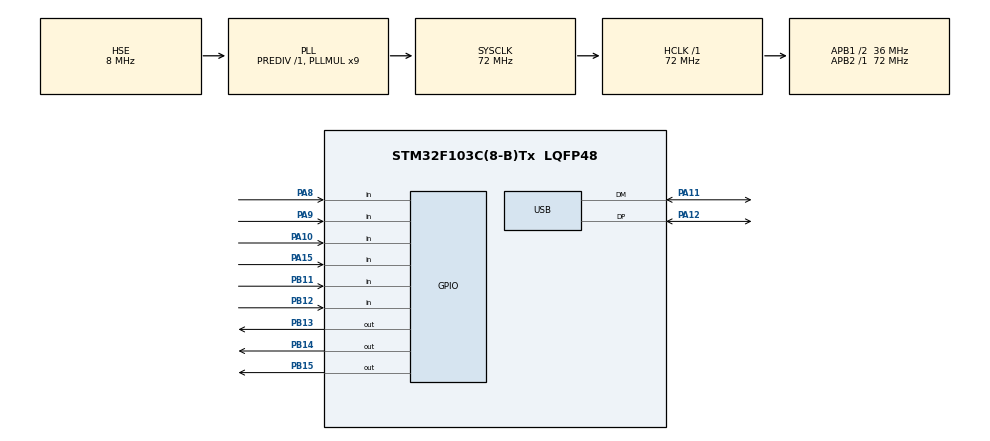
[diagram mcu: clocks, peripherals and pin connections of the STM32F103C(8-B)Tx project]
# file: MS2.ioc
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Mcu.Family=STM32F1
Mcu.Name=STM32F103C(8-B)Tx
Mcu.Package=LQFP48
NVIC.PriorityGroup=NVIC_PRIORITYGROUP_4
NVIC.TIM2_IRQn=true\:0\:0\:false\:false\:true\:true\:true
NVIC.USB_LP_CAN1_RX0_IRQn=true\:0\:0\:false\:false\:true\:false\:true
PA10.Signal=GPIO_Input
PA11.Mode=Device
PA11.Signal=USB_DM
PA12.Mode=Device
PA12.Signal=USB_DP
PA13.Mode=Serial_Wire
PA13.Signal=SYS_JTMS-SWDIO
PA14.Mode=Serial_Wire
PA14.Signal=SYS_JTCK-SWCLK
PA15.Signal=GPIO_Input
PA8.Signal=GPIO_Input
PA9.Signal=GPIO_Input
PB11.Signal=GPIO_Input
PB12.Signal=GPIO_Input
PB13.Signal=GPIO_Output
PB14.Signal=GPIO_Output
PB15.Signal=GPIO_Output
PD0-OSC_IN.Mode=HSE-External-Oscillator
PD0-OSC_IN.Signal=RCC_OSC_IN
PD1-OSC_OUT.Mode=HSE-External-Oscillator
PD1-OSC_OUT.Signal=RCC_OSC_OUT
ProjectManager.HeapSize=0x200
ProjectManager.StackSize=0x400
ProjectManager.TargetToolchain=TrueSTUDIO
RCC.AHBFreq_Value=72000000
RCC.APB1CLKDivider=RCC_HCLK_DIV2
RCC.APB1Freq_Value=36000000
RCC.APB1TimFreq_Value=72000000
RCC.APB2Freq_Value=72000000
RCC.APB2TimFreq_Value=72000000
RCC.HCLKFreq_Value=72000000
RCC.PLLMUL=RCC_PLL_MUL9
RCC.SYSCLKFreq_VALUE=72000000
RCC.SYSCLKSource=RCC_SYSCLKSOURCE_PLLCLK
RCC.USBFreq_Value=48000000
RCC.USBPrescaler=RCC_USBCLKSOURCE_PLL_DIV1_5
TIM2.Period=9
TIM2.Prescaler=71
USB_DEVICE.CLASS_NAME_FS=CDC
USB_DEVICE.VirtualMode=Cdc
USB_DEVICE.VirtualModeFS=Cdc_FS
VP_TIM2_VS_ClockSourceINT.Mode=Internal
VP_USB_DEVICE_VS_USB_DEVICE_CDC_FS.Mode=CDC_FS
board=custom

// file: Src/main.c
/* USER CODE BEGIN Header */
/**
  ******************************************************************************
  * @file           : main.c
  * @brief          : Main program body
  ******************************************************************************
  * This notice applies to any and all portions of this file
  * that are not between comment pairs USER CODE BEGIN and
  * USER CODE END. Other portions of this file, whether
  * inserted by the user or by software development tools
  * are owned by their respective copyright owners.
  *
  * Copyright (c) 2019 STMicroelectronics International N.V.
  * All rights reserved.
  *
  * Redistribution and use in source and binary forms, with or without
  * modification, are permitted, provided that the following conditions are met:
  *
  * 1. Redistribution of source code must retain the above copyright notice,
  *    this list of conditions and the following disclaimer.
  * 2. Redistributions in binary form must reproduce the above copyright notice,
  *    this list of conditions and the following disclaimer in the documentation
  *    and/or other materials provided with the distribution.
  * 3. Neither the name of STMicroelectronics nor the names of other
  *    contributors to this software may be used to endorse or promote products
  *    derived from this software without specific written permission.
  * 4. This software, including modifications and/or derivative works of this
  *    software, must execute solely and exclusively on microcontroller or
  *    microprocessor devices manufactured by or for STMicroelectronics.
  * 5. Redistribution and use of this software other than as permitted under
  *    this license is void and will automatically terminate your rights under
  *    this license.
  *
  * THIS SOFTWARE IS PROVIDED BY STMICROELECTRONICS AND CONTRIBUTORS "AS IS"
  * AND ANY EXPRESS, IMPLIED OR STATUTORY WARRANTIES, INCLUDING, BUT NOT
  * LIMITED TO, THE IMPLIED WARRANTIES OF MERCHANTABILITY, FITNESS FOR A
  * PARTICULAR PURPOSE AND NON-INFRINGEMENT OF THIRD PARTY INTELLECTUAL PROPERTY
  * RIGHTS ARE DISCLAIMED TO THE FULLEST EXTENT PERMITTED BY LAW. IN NO EVENT
  * SHALL STMICROELECTRONICS OR CONTRIBUTORS BE LIABLE FOR ANY DIRECT, INDIRECT,
  * INCIDENTAL, SPECIAL, EXEMPLARY, OR CONSEQUENTIAL DAMAGES (INCLUDING, BUT NOT
  * LIMITED TO, PROCUREMENT OF SUBSTITUTE GOODS OR SERVICES; LOSS OF USE, DATA,
  * OR PROFITS; OR BUSINESS INTERRUPTION) HOWEVER CAUSED AND ON ANY THEORY OF
  * LIABILITY, WHETHER IN CONTRACT, STRICT LIABILITY, OR TORT (INCLUDING
  * NEGLIGENCE OR OTHERWISE) ARISING IN ANY WAY OUT OF THE USE OF THIS SOFTWARE,
  * EVEN IF ADVISED OF THE POSSIBILITY OF SUCH DAMAGE.
  *
  ******************************************************************************
  */
/* USER CODE END Header */

#include "main.h"
#include "usb_device.h"

/* USER CODE BEGIN PTD */
typedef enum{
	DISTANCE_CHECK,
	DISTANCE_STB
}ST_DISTANCE;
typedef enum{
	LED_STB=0,
	LED_CHECK,
	LED_BLINK
}ST_LED;
typedef enum{
	P_PUSH=0,
	P_TIME,
	P_CHECK
}ST_P;
enum{
	Tled1=0,
	Tled2,
	Tled3,
	Tled4,
	TledT1,
	TledT2,
	TledT3,
	TledT4,
	Tp1AR1,
	Tp1AR2,
	Tp1AR3,
	Tp1AR4,
	TLed1_push,
	timers
};

/* USER CODE END PTD */

TIM_HandleTypeDef htim2;

/* USER CODE BEGIN PV */
volatile int TIMERS[timers];
ST_LED led1,led2,led3,led4;
ST_P p1,p2,p3,p4;
ST_DISTANCE s_proximidad;
volatile uint16_t i;
volatile uint8_t estado=0;
char bufer[90];
uint16_t AR=200;
/* USER CODE END PV */

void SystemClock_Config(void);
static void MX_GPIO_Init(void);
static void MX_TIM2_Init(void);
/* USER CODE BEGIN PFP */
void distance_process();
void led1_process();
void p1_process();
void led2_process();
void p2_process();
void led3_process();
void p3_process();
void led4_process();
void p4_process();
/* USER CODE END PFP */

int main(void)
{

  /* MCU Configuration--------------------------------------------------------*/

  /* Reset of all peripherals, Initializes the Flash interface and the Systick. */
  HAL_Init();

  /* Configure the system clock */
  SystemClock_Config();

  /* Initialize all configured peripherals */
  MX_GPIO_Init();
  MX_TIM2_Init();
  MX_USB_DEVICE_Init();
  /* USER CODE BEGIN 2 */
  HAL_TIM_Base_Start_IT(&htim2);
  s_proximidad=DISTANCE_STB;
  led1=LED_STB,led2=LED_STB,led3=LED_STB,led4=LED_STB,p1=P_CHECK,p2=P_CHECK,p3=P_CHECK,p4=P_CHECK;
  /* USER CODE END 2 */

  /* Infinite loop */
  while (1)
  {

    /* USER CODE BEGIN 3 */
	  /*led1_process();
	  p1_process();
	  led2_process();
	  p2_process();
	  led3_process();
	  p3_process();
	  led4_process();
	  p4_process();*/
	  distance_process();

  }
  /* USER CODE END 3 */
}

void SystemClock_Config(void)
{
  RCC_OscInitTypeDef RCC_OscInitStruct = {0};
  RCC_ClkInitTypeDef RCC_ClkInitStruct = {0};
  RCC_PeriphCLKInitTypeDef PeriphClkInit = {0};

  /** Initializes the CPU, AHB and APB busses clocks
  */
  RCC_OscInitStruct.OscillatorType = RCC_OSCILLATORTYPE_HSE;
  RCC_OscInitStruct.HSEState = RCC_HSE_ON;
  RCC_OscInitStruct.HSEPredivValue = RCC_HSE_PREDIV_DIV1;
  RCC_OscInitStruct.HSIState = RCC_HSI_ON;
  RCC_OscInitStruct.PLL.PLLState = RCC_PLL_ON;
  RCC_OscInitStruct.PLL.PLLSource = RCC_PLLSOURCE_HSE;
  RCC_OscInitStruct.PLL.PLLMUL = RCC_PLL_MUL9;
  if (HAL_RCC_OscConfig(&RCC_OscInitStruct) != HAL_OK)
  {
    Error_Handler();
  }
  /** Initializes the CPU, AHB and APB busses clocks
  */
  RCC_ClkInitStruct.ClockType = RCC_CLOCKTYPE_HCLK|RCC_CLOCKTYPE_SYSCLK
                              |RCC_CLOCKTYPE_PCLK1|RCC_CLOCKTYPE_PCLK2;
  RCC_ClkInitStruct.SYSCLKSource = RCC_SYSCLKSOURCE_PLLCLK;
  RCC_ClkInitStruct.AHBCLKDivider = RCC_SYSCLK_DIV1;
  RCC_ClkInitStruct.APB1CLKDivider = RCC_HCLK_DIV2;
  RCC_ClkInitStruct.APB2CLKDivider = RCC_HCLK_DIV1;

  if (HAL_RCC_ClockConfig(&RCC_ClkInitStruct, FLASH_LATENCY_2) != HAL_OK)
  {
    Error_Handler();
  }
  PeriphClkInit.PeriphClockSelection = RCC_PERIPHCLK_USB;
  PeriphClkInit.UsbClockSelection = RCC_USBCLKSOURCE_PLL_DIV1_5;
  if (HAL_RCCEx_PeriphCLKConfig(&PeriphClkInit) != HAL_OK)
  {
    Error_Handler();
  }
}

static void MX_TIM2_Init(void)
{

  TIM_ClockConfigTypeDef sClockSourceConfig = {0};
  TIM_MasterConfigTypeDef sMasterConfig = {0};

  htim2.Instance = TIM2;
  htim2.Init.Prescaler = 71;
  htim2.Init.CounterMode = TIM_COUNTERMODE_UP;
  htim2.Init.Period = 9;
  htim2.Init.ClockDivision = TIM_CLOCKDIVISION_DIV1;
  htim2.Init.AutoReloadPreload = TIM_AUTORELOAD_PRELOAD_DISABLE;
  if (HAL_TIM_Base_Init(&htim2) != HAL_OK)
  {
    Error_Handler();
  }
  sClockSourceConfig.ClockSource = TIM_CLOCKSOURCE_INTERNAL;
  if (HAL_TIM_ConfigClockSource(&htim2, &sClockSourceConfig) != HAL_OK)
  {
    Error_Handler();
  }
  sMasterConfig.MasterOutputTrigger = TIM_TRGO_RESET;
  sMasterConfig.MasterSlaveMode = TIM_MASTERSLAVEMODE_DISABLE;
  if (HAL_TIMEx_MasterConfigSynchronization(&htim2, &sMasterConfig) != HAL_OK)
  {
    Error_Handler();
  }

}

static void MX_GPIO_Init(void)
{
  GPIO_InitTypeDef GPIO_InitStruct = {0};

  /* GPIO Ports Clock Enable */
  __HAL_RCC_GPIOD_CLK_ENABLE();
  __HAL_RCC_GPIOB_CLK_ENABLE();
  __HAL_RCC_GPIOA_CLK_ENABLE();

  /*Configure GPIO pin Output Level */
  HAL_GPIO_WritePin(GPIOB, GPIO_PIN_13|GPIO_PIN_14|GPIO_PIN_15, GPIO_PIN_RESET);

  /*Configure GPIO pins : PB11 PB12 */
  GPIO_InitStruct.Pin = GPIO_PIN_11|GPIO_PIN_12;
  GPIO_InitStruct.Mode = GPIO_MODE_INPUT;
  GPIO_InitStruct.Pull = GPIO_NOPULL;
  HAL_GPIO_Init(GPIOB, &GPIO_InitStruct);

  /*Configure GPIO pins : PB13 PB14 PB15 */
  GPIO_InitStruct.Pin = GPIO_PIN_13|GPIO_PIN_14|GPIO_PIN_15;
  GPIO_InitStruct.Mode = GPIO_MODE_OUTPUT_PP;
  GPIO_InitStruct.Pull = GPIO_NOPULL;
  GPIO_InitStruct.Speed = GPIO_SPEED_FREQ_LOW;
  HAL_GPIO_Init(GPIOB, &GPIO_InitStruct);

  /*Configure GPIO pins : PA8 PA9 PA10 PA15 */
  GPIO_InitStruct.Pin = GPIO_PIN_8|GPIO_PIN_9|GPIO_PIN_10|GPIO_PIN_15;
  GPIO_InitStruct.Mode = GPIO_MODE_INPUT;
  GPIO_InitStruct.Pull = GPIO_NOPULL;
  HAL_GPIO_Init(GPIOA, &GPIO_InitStruct);

}

/* USER CODE BEGIN 4 */
void HAL_TIM_PeriodElapsedCallback(TIM_HandleTypeDef *htim){  //timer cada 1ms
	if(htim->Instance==TIM2){
		for(i=0;i<timers;i++){
			if(TIMERS[i]!=0 && (i>=0 && i<12)){
				TIMERS[i]--;
			}else if(i>=12){
				TIMERS[i]++;
			}
		}
	}
}
void distance_process(){
	switch(s_proximidad){
			case DISTANCE_CHECK:
				if(HAL_GPIO_ReadPin(GPIOB,GPIO_PIN_11)==1){
					//NO HAY NADA
					HAL_GPIO_WritePin(GPIOB,GPIO_PIN_13, GPIO_PIN_SET);
					s_proximidad=DISTANCE_STB;
				}
				if(HAL_GPIO_ReadPin(GPIOB,GPIO_PIN_11)==0){
					//HAY ALGO
					HAL_GPIO_WritePin(GPIOB,GPIO_PIN_13, GPIO_PIN_RESET);
					s_proximidad=DISTANCE_STB;
								}
				break;
			case DISTANCE_STB:
				s_proximidad=DISTANCE_CHECK;
				break;

		}

}

void led1_process(){

}

void p1_process(){
	switch(p1){
		case P_CHECK:
			if(HAL_GPIO_ReadPin(GPIOA,GPIO_PIN_8)==1){
				if(led1!=LED_STB){
					sprintf(bufer,"1. Quedan: %d ms \n",TIMERS[TledT1]);
					CDC_Transmit_FS((uint8_t*)bufer,(uint16_t)strlen(bufer));
				}else{
					p1=P_TIME;
					TIMERS[TLed1_push]=0;
				}
			}
			break;
		case P_TIME:
			if(HAL_GPIO_ReadPin(GPIOA,GPIO_PIN_8)==1){

			}else{
				p1=P_PUSH;
				led1=LED_BLINK;
				TIMERS[TledT1]=TIMERS[TLed1_push];
				TIMERS[Tp1AR1]=AR;
			}
			break;
		case P_PUSH:
			if(TIMERS[Tp1AR1]==0){
				p1=P_CHECK;
			}
			break;
	}
}

void led2_process(){
	switch(led2){
		case LED_STB:
			//do nothing
			break;
		case LED_CHECK:
			led2=LED_BLINK;
			if(TIMERS[TledT2]==0){
				led2=LED_STB;
				HAL_GPIO_WritePin(GPIOB,GPIO_PIN_13,0);
			}
			break;
		case LED_BLINK:
			led2=LED_CHECK;
			if(TIMERS[Tled2]==0){
				TIMERS[Tled2]=80;
				HAL_GPIO_TogglePin(GPIOB,GPIO_PIN_13);
			}
			break;
	}
}

void p2_process(){
	switch(p2){
		case P_CHECK:
			if(HAL_GPIO_ReadPin(GPIOA,GPIO_PIN_9)==1){
				if(led2!=LED_STB){
					sprintf(bufer,"2. Quedan: %d ms \n",TIMERS[TledT2]);
					CDC_Transmit_FS((uint8_t*)bufer,(uint16_t)strlen(bufer));
				}else{
					led2=LED_BLINK;
					TIMERS[TledT2]=5000;
				}
				TIMERS[Tp1AR2]=AR;
				p2=P_PUSH;
			}

		case P_PUSH:
			if(TIMERS[Tp1AR2]==0){
				p2=P_CHECK;
			}
			break;
	}
}

void led3_process(){
	switch(led3){
		case LED_STB:
			//do nothing
			break;
		case LED_CHECK:
			led3=LED_BLINK;
			if(TIMERS[TledT3]==0){
				led3=LED_STB;
				HAL_GPIO_WritePin(GPIOB,GPIO_PIN_14,0);
			}
			break;
		case LED_BLINK:
			led3=LED_CHECK;
			if(TIMERS[Tled3]==0){
				TIMERS[Tled3]=500;
				HAL_GPIO_TogglePin(GPIOB,GPIO_PIN_14);
			}
			break;
	}
}

void p3_process(){
	switch(p3){
		case P_CHECK:
			if(HAL_GPIO_ReadPin(GPIOA,GPIO_PIN_10)==1){
				if(led3!=LED_STB){
					sprintf(bufer,"3. Quedan: %d ms \n",TIMERS[TledT3]);
					CDC_Transmit_FS((uint8_t*)bufer,(uint16_t)strlen(bufer));
				}else{
					led3=LED_BLINK;
					TIMERS[TledT3]=8000;
				}
				TIMERS[Tp1AR3]=AR;
				p3=P_PUSH;
			}

		case P_PUSH:
			if(TIMERS[Tp1AR3]==0){
				p3=P_CHECK;
			}
			break;
	}
}

void led4_process(){
	switch(led4){
		case LED_STB:
			//do nothing
			break;
		case LED_CHECK:
			led4=LED_BLINK;
			if(TIMERS[TledT4]==0){
				led4=LED_STB;
				HAL_GPIO_WritePin(GPIOB,GPIO_PIN_15,0);
			}
			break;
		case LED_BLINK:
			led4=LED_CHECK;
			if(TIMERS[Tled4]==0){
				TIMERS[Tled4]=2000;
				HAL_GPIO_TogglePin(GPIOB,GPIO_PIN_15);
			}
			break;
	}
}

void p4_process(){
	switch(p4){
		case P_CHECK:
			if(HAL_GPIO_ReadPin(GPIOA,GPIO_PIN_15)==1){
				if(led4!=LED_STB){
					sprintf(bufer,"4. Quedan: %d ms \n",TIMERS[TledT4]);
					CDC_Transmit_FS((uint8_t*)bufer,(uint16_t)strlen(bufer));
				}else{
					led4=LED_BLINK;
					TIMERS[TledT4]=10000;
				}
				TIMERS[Tp1AR4]=AR;
				p4=P_PUSH;
			}

		case P_PUSH:
			if(TIMERS[Tp1AR4]==0){
				p4=P_CHECK;
			}
			break;
	}
}
/* USER CODE END 4 */

void Error_Handler(void)
{
}

/************************ (C) COPYRIGHT STMicroelectronics *****END OF FILE****/
